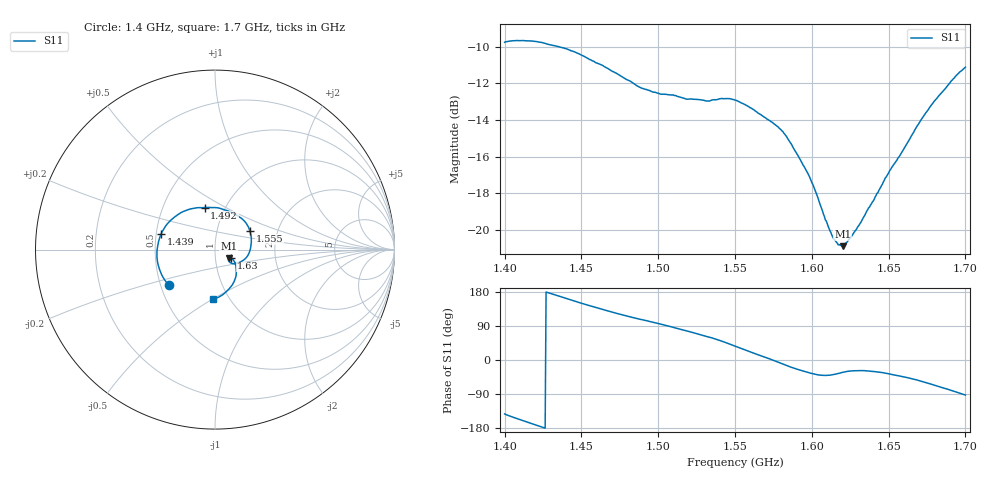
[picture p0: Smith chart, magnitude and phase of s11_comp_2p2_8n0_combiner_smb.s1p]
# GHZ S RI R 50.000000000000
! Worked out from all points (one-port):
!   501 points, 1.4 GHz to 1.7 GHz, reference 50 ohm
!   lowest |S11| = -20.9 dB at 1.62 GHz (marker M1), VSWR 1.20, Z = 58 - j5.64 ohm
!   |S11| at or under -10 dB: 1.435 GHz to end of sweep
!   S11 on the Smith chart (normalised r, x): 1.4 GHz: 0.55, -0.25; 1.439 GHz: 0.53, +0.10; 1.492 GHz: 0.80, +0.40; 1.555 GHz: 1.44, +0.32; 1.63 GHz: 1.19, -0.12; 1.7 GHz: 0.84, -0.50
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1.4  -0.2572 -0.1985
1.409  -0.2998 -0.1335
1.4186  -0.3213 -0.0612
1.427  -0.3219 0.00344
1.4378  -0.3036 0.0788
1.439  -0.3004 0.0868
1.4552  -0.2348 0.1734
1.466  -0.1815 0.2098
1.475  -0.135 0.227
1.4924  -0.0575 0.2345
1.5128  0.0292 0.2294
1.5362  0.1243 0.1895
1.55  0.1811 0.1352
1.5554  0.1944 0.1049
1.5734  0.1974 0.00575
1.5812  0.1822 -0.0343
1.5878  0.1571 -0.0595
1.5986  0.1156 -0.0779
1.6136  0.0746 -0.06
1.6172  0.0741 -0.053
1.6202  0.0764 -0.0483
1.625  0.0832 -0.0463
1.6298  0.0899 -0.0479
1.6448  0.1103 -0.0704
1.6628  0.119 -0.1274
1.6796  0.0904 -0.2051
1.6898  0.0484 -0.2466
1.7  -0.0123 -0.2775
